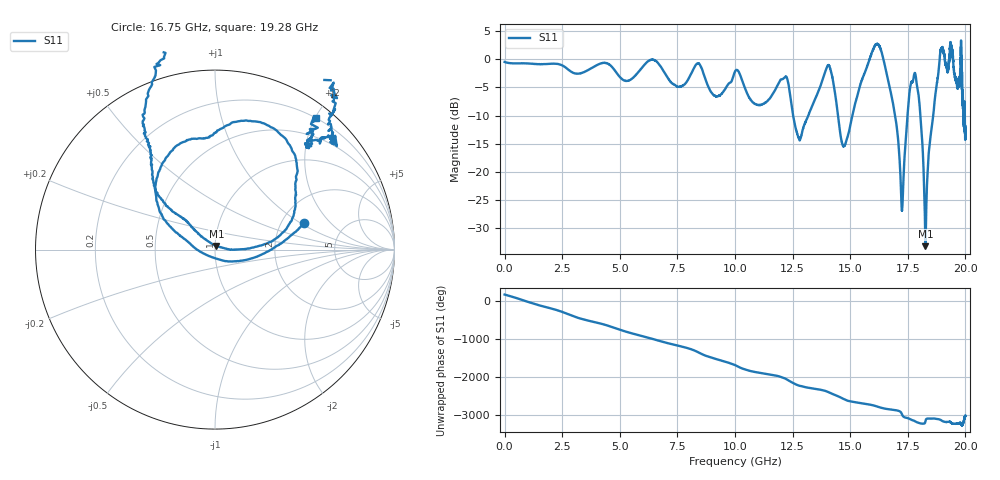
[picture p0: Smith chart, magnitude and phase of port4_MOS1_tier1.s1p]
! Created with skrf 1.8.0 (http://scikit-rf.org).
# GHz S RI R 50.0
!freq ReS11 ImS11
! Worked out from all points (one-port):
!   10001 points, 1 MHz to 20 GHz, reference 50 ohm
!   lowest |S11| = -33.2 dB at 18.27 GHz (marker M1), VSWR 1.04, Z = 50.7 + j2.09 ohm
!   |S11| at or under -10 dB: 12.52 GHz to 13.18 GHz (657.7 MHz wide, 5.12 % of centre); 14.47 GHz to 15.09 GHz (623 MHz wide, 4.22 % of centre); 18.05 GHz to 18.6 GHz (557.3 MHz wide, 3.04 % of centre) (the widest 3 of 15)
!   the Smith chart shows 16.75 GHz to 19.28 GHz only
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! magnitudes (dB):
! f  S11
! 1 MHz  -0.5
! 2.501 GHz  -1.1
! 5.001 GHz  -3.2
! 6.433 GHz  -0.1
! 7.501 GHz  -4.9
! 8.401 GHz  -0.7
! 9.257 GHz  -6.6
! 10 GHz  -2.2
! 11.01 GHz  -8.2
! 12.2 GHz  -3.1
! 12.5 GHz  -9.5
! 12.83 GHz  -14.1
! 14.05 GHz  -1.1
! 14.67 GHz  -15.1
! 15 GHz  -11.8
! 16.15 GHz  2.6
! 16.89 GHz  -8.6
! 17.24 GHz  -26.5
! 17.31 GHz  -21.3
! 17.5 GHz  -9.3
! 17.69 GHz  -4.1
! 17.88 GHz  -4.0
! 18.05 GHz  -10.4
! 18.27 GHz  -33.2
! 18.49 GHz  -13.6
! 18.97 GHz  2.0
! 19.78 GHz  -2.6
! 20 GHz  -12.5
